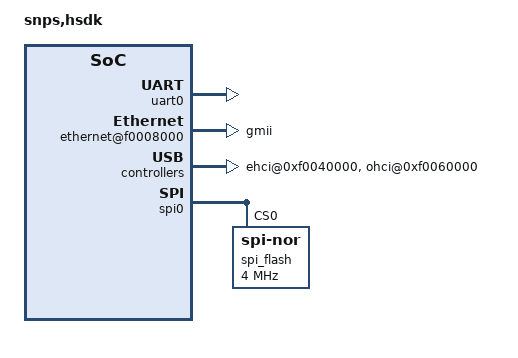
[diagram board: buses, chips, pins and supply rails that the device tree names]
// SPDX-License-Identifier: GPL-2.0+
/*
 * Copyright (C) 2017 Synopsys, Inc. All rights reserved.
 */
/dts-v1/;

#include "skeleton.dtsi"
#include "dt-bindings/clock/snps,hsdk-cgu.h"

/ {
	model = "snps,hsdk";

	#address-cells = <1>;
	#size-cells = <1>;

	aliases {
		console = &uart0;
		spi0 = &spi0;
	};

	cpu_card {
		core_clk: core_clk {
			#clock-cells = <0>;
			compatible = "fixed-clock";
			clock-frequency = <500000000>;
			u-boot,dm-pre-reloc;
		};
	};

	clk-fmeas {
		clocks = <&cgu_clk CLK_ARC_PLL>, <&cgu_clk CLK_SYS_PLL>,
			 <&cgu_clk CLK_TUN_PLL>, <&cgu_clk CLK_DDR_PLL>,
			 <&cgu_clk CLK_ARC>, <&cgu_clk CLK_HDMI_PLL>,
			 <&cgu_clk CLK_TUN_TUN>, <&cgu_clk CLK_HDMI>,
			 <&cgu_clk CLK_SYS_APB>, <&cgu_clk CLK_SYS_AXI>,
			 <&cgu_clk CLK_SYS_ETH>, <&cgu_clk CLK_SYS_USB>,
			 <&cgu_clk CLK_SYS_SDIO>, <&cgu_clk CLK_SYS_HDMI>,
			 <&cgu_clk CLK_SYS_GFX_CORE>, <&cgu_clk CLK_SYS_GFX_DMA>,
			 <&cgu_clk CLK_SYS_GFX_CFG>, <&cgu_clk CLK_SYS_DMAC_CORE>,
			 <&cgu_clk CLK_SYS_DMAC_CFG>, <&cgu_clk CLK_SYS_SDIO_REF>,
			 <&cgu_clk CLK_SYS_SPI_REF>, <&cgu_clk CLK_SYS_I2C_REF>,
			 <&cgu_clk CLK_SYS_UART_REF>, <&cgu_clk CLK_SYS_EBI_REF>,
			 <&cgu_clk CLK_TUN_ROM>, <&cgu_clk CLK_TUN_PWM>;
		clock-names = "cpu-pll", "sys-pll",
			      "tun-pll", "ddr-clk",
			      "cpu-clk", "hdmi-pll",
			      "tun-clk", "hdmi-clk",
			      "apb-clk", "axi-clk",
			      "eth-clk", "usb-clk",
			      "sdio-clk", "hdmi-sys-clk",
			      "gfx-core-clk", "gfx-dma-clk",
			      "gfx-cfg-clk", "dmac-core-clk",
			      "dmac-cfg-clk", "sdio-ref-clk",
			      "spi-clk", "i2c-clk",
			      "uart-clk", "ebi-clk",
			      "rom-clk", "pwm-clk";
	};

	cgu_clk: cgu-clk@f0000000 {
		compatible = "snps,hsdk-cgu-clock";
		reg = <0xf0000000 0x10>, <0xf00014B8 0x4>;
		#clock-cells = <1>;
	};

	uart0: serial0@f0005000 {
		compatible = "snps,dw-apb-uart";
		reg = <0xf0005000 0x1000>;
		reg-shift = <2>;
		reg-io-width = <4>;
	};

	ethernet@f0008000 {
		#interrupt-cells = <1>;
		compatible = "altr,socfpga-stmmac";
		reg = <0xf0008000 0x2000>;
		phy-mode = "gmii";
	};

	ehci@0xf0040000 {
		compatible = "generic-ehci";
		reg = <0xf0040000 0x100>;
	};

	ohci@0xf0060000 {
		compatible = "generic-ohci";
		reg = <0xf0060000 0x100>;
	};

	spi0: spi@f0020000 {
		compatible = "snps,dw-apb-ssi";
		reg = <0xf0020000 0x1000>;
		#address-cells = <1>;
		#size-cells = <0>;
		spi-max-frequency = <4000000>;
		clocks = <&cgu_clk CLK_SYS_SPI_REF>;
		clock-names = "spi_clk";
		cs-gpio = <&cs_gpio 0>;
		spi_flash@0 {
			compatible = "jedec,spi-nor";
			reg = <0>;
			spi-max-frequency = <4000000>;
		};
	};

	cs_gpio: gpio@f00014b0 {
		compatible = "snps,creg-gpio";
		reg = <0xf00014b0 0x4>;
		gpio-controller;
		#gpio-cells = <1>;
		gpio-bank-name = "hsdk-spi-cs";
		gpio-count = <1>;
		gpio-first-shift = <0>;
		gpio-bit-per-line = <2>;
		gpio-activate-val = <2>;
		gpio-deactivate-val = <3>;
		gpio-default-val = <1>;
	};
};
